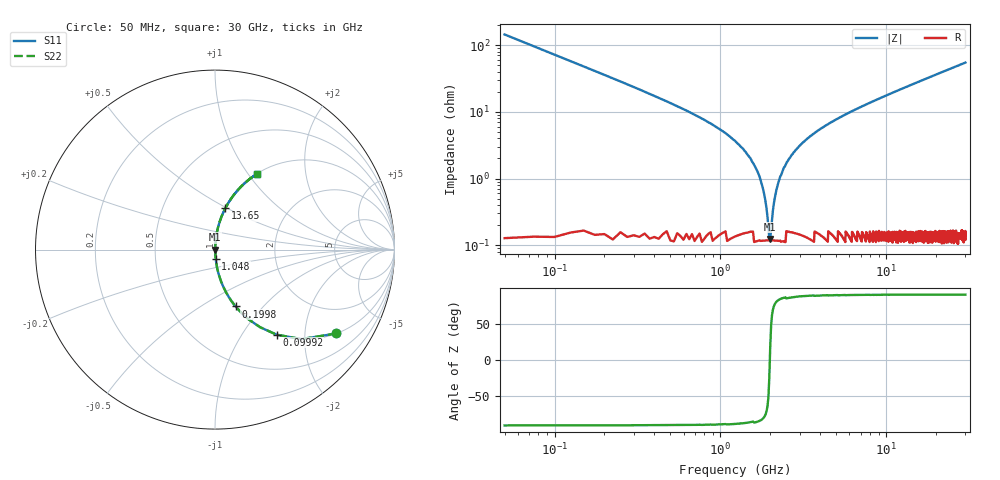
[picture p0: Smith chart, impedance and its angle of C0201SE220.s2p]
!	AVX Thin Film Operation 	Date: April 2014
!	Description: Accu-P® Series, Thin Film  SMD RF Capacitor
!	Part Number: 0201ZK220FBSTR
# MHZ S MA R 50
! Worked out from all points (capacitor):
!   1201 points, 50 MHz to 30 GHz, reference 50 ohm
!   read as one part in series: C = 22 pF near 199.8 MHz
!   lowest |Z| = 124 mohm at 1.997 GHz (marker M1)
!   series resonance near 1.987 GHz, so ESL is about 290 pH
!   S11 on the Smith chart (normalised r, x): 50 MHz: 1.00, -2.89; 99.92 MHz: 1.00, -1.44; 199.8 MHz: 1.00, -0.72; 1.048 GHz: 1.00, -0.10; 13.65 GHz: 1.00, +0.49; 30 GHz: 1.00, +1.10
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50  0.822 -34.6  0.569 55.3  0.569 55.3  0.822 -34.6
99.917  0.585 -54.1  0.81 35.8  0.81 35.8  0.585 -54.1
199.75  0.337 -70.1  0.94 19.7  0.94 19.7  0.337 -70.1
299.583  0.229 -76.4  0.972 13.3  0.972 13.3  0.229 -76.4
499.25  0.134 -81.7  0.99 7.7  0.99 7.7  0.134 -81.7
1048.333  0.05 -85.6  0.997 2.8  0.997 2.8  0.05 -85.6
1572.458  0.017 -84.5  0.998 1.0  0.998 1.0  0.017 -84.5
1722.208  0.011 -81.9  0.999 0.6  0.999 0.6  0.011 -81.9
1896.917  0.003632 -67.7  0.999 0.2  0.999 0.2  0.003632 -67.7
1996.75  0.001416 15.0  0.999 -0.0  0.999 -0.0  0.001416 15.0
2096.583  0.004149 70.5  0.999 -0.2  0.999 -0.2  0.004149 70.5
2221.375  0.00825 80.0  0.999 -0.5  0.999 -0.5  0.00825 80.0
2371.125  0.013 83.2  0.999 -0.7  0.999 -0.7  0.013 83.2
2820.375  0.026 85.5  0.998 -1.5  0.998 -1.5  0.026 85.5
3743.833  0.049 85.6  0.997 -2.8  0.997 -2.8  0.049 85.6
5041.667  0.078 84.5  0.996 -4.5  0.996 -4.5  0.078 84.5
10058.29  0.174 79.5  0.983 -10.0  0.983 -10.0  0.174 79.5
13652.29  0.238 75.9  0.97 -13.7  0.97 -13.7  0.238 75.9
15025  0.261 74.6  0.964 -15.1  0.964 -15.1  0.261 74.6
20016.67  0.341 69.8  0.939 -19.9  0.939 -19.9  0.341 69.8
25033.29  0.414 65.3  0.909 -24.5  0.909 -24.5  0.414 65.3
30000  0.48 61.2  0.876 -28.7  0.876 -28.7  0.48 61.2
